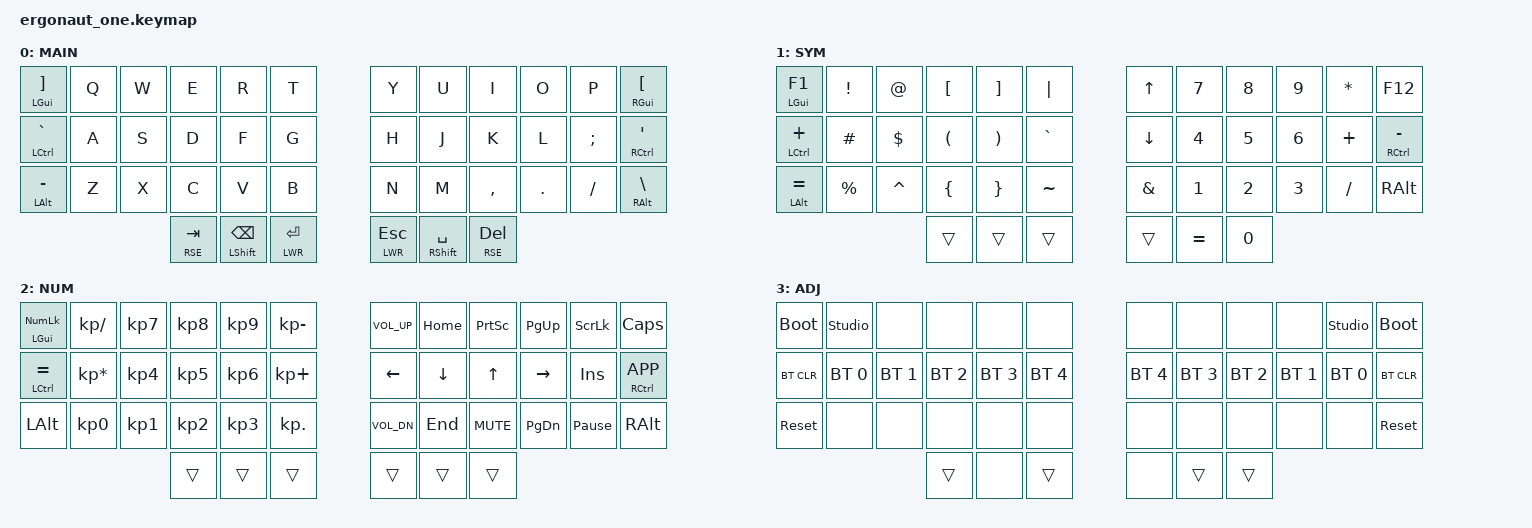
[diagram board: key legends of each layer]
#include <behaviors.dtsi>
#include <dt-bindings/zmk/bt.h>
#include <dt-bindings/zmk/keys.h>

#define DEF 0
#define LWR 1
#define RSE 2
#define ADJ 3

&lt { quick-tap-ms = <200>; };

&mt { quick-tap-ms = <200>; };

/ {
    conditional_layers {
        compatible = "zmk,conditional-layers";

        tri-layer {
            if-layers = <LWR RSE>;
            then-layer = <ADJ>;
        };
    };

    keymap {
        compatible = "zmk,keymap";

        default_layer {
            display-name = "MAIN";
            bindings = <
&mt LGUI RBKT    &kp Q  &kp W  &kp E        &kp R                &kp T        &kp Y        &kp U            &kp I        &kp O    &kp P     &mt RGUI LBKT
&mt LCTRL GRAVE  &kp A  &kp S  &kp D        &kp F                &kp G        &kp H        &kp J            &kp K        &kp L    &kp SEMI  &mt RCTRL SQT
&mt LALT MINUS   &kp Z  &kp X  &kp C        &kp V                &kp B        &kp N        &kp M            &kp COMMA    &kp DOT  &kp FSLH  &mt RALT BSLH
                               &lt RSE TAB  &mt LSHFT BACKSPACE  &lt LWR RET  &lt LWR ESC  &mt RSHFT SPACE  &lt RSE DEL
            >;
        };

        lower_layer {
            display-name = "SYM";
            bindings = <
&mt LGUI F1     &kp EXCL     &kp AT     &kp LEFT_BRACKET  &kp RIGHT_BRACKET  &kp PIPE   &kp UP_ARROW   &kp NUMBER_7  &kp NUMBER_8  &kp NUMBER_9  &kp ASTERISK  &kp F12
&mt LCTRL PLUS  &kp HASH     &kp DLLR   &kp LPAR          &kp RPAR           &kp GRAVE  &kp DOWN       &kp NUMBER_4  &kp NUMBER_5  &kp NUMBER_6  &kp PLUS      &mt RCTRL MINUS
&mt LALT EQUAL  &kp PERCENT  &kp CARET  &kp LEFT_BRACE    &kp RIGHT_BRACE    &kp TILDE  &kp AMPERSAND  &kp NUMBER_1  &kp NUMBER_2  &kp NUMBER_3  &kp SLASH     &kp RALT
                                        &trans            &trans             &trans     &trans         &kp EQUAL     &kp NUMBER_0
            >;
        };

        raise_layer {
            display-name = "NUM";
            bindings = <
&mt LGUI KP_NUM  &kp KP_SLASH     &kp KP_N7  &kp KP_N8  &kp KP_N9  &kp KP_MINUS  &kp C_VOL_UP    &kp HOME  &kp PSCRN   &kp PG_UP  &kp SLCK         &kp CLCK
&mt LCTRL EQUAL  &kp KP_MULTIPLY  &kp KP_N4  &kp KP_N5  &kp KP_N6  &kp KP_PLUS   &kp LEFT_ARROW  &kp DOWN  &kp UP      &kp RIGHT  &kp INS          &mt RCTRL K_APP
&kp LALT         &kp KP_N0        &kp KP_N1  &kp KP_N2  &kp KP_N3  &kp KP_DOT    &kp C_VOL_DN    &kp END   &kp C_MUTE  &kp PG_DN  &kp PAUSE_BREAK  &kp RALT
                                             &trans     &trans     &trans        &trans          &trans    &trans
            >;
        };

        adjust_layer {
            display-name = "ADJ";
            bindings = <
&bootloader  &studio_unlock  &none         &none         &none         &none         &none         &none         &none         &none         &studio_unlock  &bootloader
&bt BT_CLR   &bt BT_SEL 0    &bt BT_SEL 1  &bt BT_SEL 2  &bt BT_SEL 3  &bt BT_SEL 4  &bt BT_SEL 4  &bt BT_SEL 3  &bt BT_SEL 2  &bt BT_SEL 1  &bt BT_SEL 0    &bt BT_CLR
&sys_reset   &none           &none         &none         &none         &none         &none         &none         &none         &none         &none           &sys_reset
                                           &trans        &none         &trans        &none         &trans        &trans
            >;
        };
    };
};
